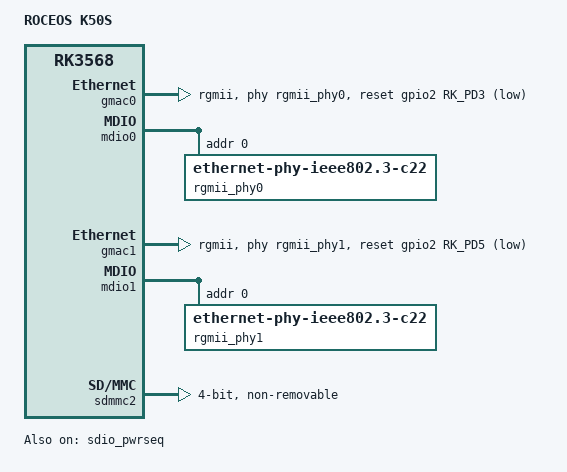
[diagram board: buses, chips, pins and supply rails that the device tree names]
// SPDX-License-Identifier: (GPL-2.0+ OR MIT)
/*
 * Copyright (c) 2020 Rockchip Electronics Co., Ltd.
 * Copyright (c) 2022 ROCEOS
 */

/dts-v1/;

#include "rk3568-roceos-k50s.dtsi"

/ {
	model = "ROCEOS K50S";
	compatible = "roceos,k50s", "rockchip,rk3568", "gmac_1v8";
	/* 20260821: rotate to physical jack order (user tested each port:
	   LAN1=pcie3x1, LAN2=pcie3x2, LAN3=pcie2x1, LAN4=gmac1, WAN=gmac0) */
	eth_order = "0001:11:00.0,0002:21:00.0,0000:01:00.0,fe010000.ethernet,fe2a0000.ethernet";
	kdebug = "0";
	hwmodel_id = "K50S";
	eth_driver = "r8125";
	hw_support = "hdmi,2.5g";

	aliases {
		ethernet0 = &gmac0;
		ethernet1 = &gmac1;
	};
};

&gmac0 {
	phy-mode = "rgmii";
	clock_in_out = "input";
	snps,reset-gpio = <&gpio2 RK_PD3 GPIO_ACTIVE_LOW>;
	snps,reset-active-high;
	/* 20260821: 复位极性按厂商 22.03 基线（active-high）；误写 active-low
	   时 probe 无有效复位脉冲，PHY 保持上电 strap 状态 -> 千兆死百兆活 */
	snps,reset-delays-us = <0 20000 100000>;
	assigned-clocks = <&cru SCLK_GMAC0_RX_TX>, <&cru SCLK_GMAC0>;
	assigned-clock-parents = <&cru SCLK_GMAC0_RGMII_SPEED>, <&gmac0_clkin>;
	assigned-clock-rates = <0>, <125000000>, <25000000>;
	pinctrl-names = "default";
	pinctrl-0 = <&gmac0_miim
		     &gmac0_tx_bus2
		     &gmac0_rx_bus2
		     &gmac0_rgmii_clk
		     &gmac0_rgmii_bus
		     &gmac0_clkinout>;
	tx_delay = <0x3c>;
	rx_delay = <0x2f>;
	phy-handle = <&rgmii_phy0>;
	status = "okay";
};

&mdio0 {
	rgmii_phy0: phy@0 {
		compatible = "ethernet-phy-ieee802.3-c22";
		reg = <0x0>;
		realtek,fiber;
		realtek,led-data = <0x616b>;
	};
};

&gmac1 {
	phy-mode = "rgmii";
	clock_in_out = "input";
	snps,reset-gpio = <&gpio2 RK_PD5 GPIO_ACTIVE_LOW>;
	snps,reset-active-low;
	snps,reset-delays-us = <0 20000 100000>;
	assigned-clocks = <&cru SCLK_GMAC1_RX_TX>, <&cru SCLK_GMAC1>, <&cru CLK_MAC1_OUT>;
	assigned-clock-parents = <&cru SCLK_GMAC1_RGMII_SPEED>, <&gmac1_clkin>;
	assigned-clock-rates = <0>, <125000000>, <25000000>;
	pinctrl-names = "default";
	pinctrl-0 = <&gmac1m1_miim
		     &gmac1m1_tx_bus2
		     &gmac1m1_rx_bus2
		     &gmac1m1_rgmii_clk
		     &gmac1m1_rgmii_bus
		     &eth1m1_pins
		     &gmac1m1_clkinout>;
	tx_delay = <0x4f>;
	rx_delay = <0x26>;
	phy-handle = <&rgmii_phy1>;
	status = "okay";
};

&mdio1 {
	rgmii_phy1: phy@0 {
		compatible = "ethernet-phy-ieee802.3-c22";
		reg = <0x0>;
		realtek,fiber;
		realtek,led-data = <0x616b>;
	};
};

&sata2 {
	/* K50S: sata2 shares combphy2 with pcie2x1 (eth2, the 3rd 2.5G r8125
	   port). RK3568 allows only one function per combphy, so enabling
	   sata2 here would starve pcie2x1 of its PHY. This board is a
	   router with no SATA device, so disable sata2 to keep combphy2
	   free for the 2.5G NIC. Re-enable only if a SATA port is present. */
	status = "disabled";
};

&sdio_pwrseq {
	status = "okay";
	reset-gpios = <&gpio3 RK_PD5 GPIO_ACTIVE_LOW>;
	post-power-on-delay-ms = <200>;
};

&sdmmc2 {
	max-frequency = <150000000>;
	supports-sdio;
	bus-width = <4>;
	disable-wp;
	cap-sd-highspeed;
	cap-sdio-irq;
	keep-power-in-suspend;
	mmc-pwrseq = <&sdio_pwrseq>;
	non-removable;
	pinctrl-names = "default";
	pinctrl-0 = <&sdmmc2m0_bus4 &sdmmc2m0_cmd &sdmmc2m0_clk>;
	sd-uhs-sdr104;
	status = "okay";
};
